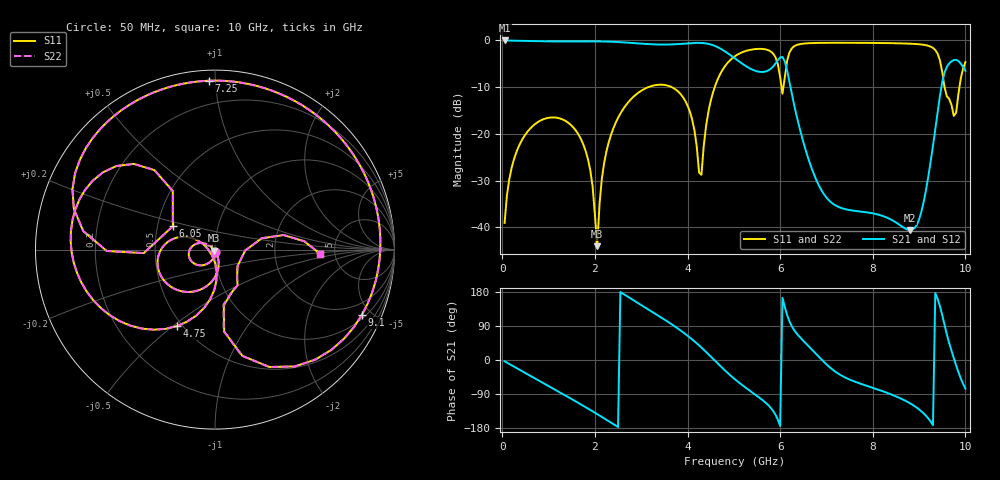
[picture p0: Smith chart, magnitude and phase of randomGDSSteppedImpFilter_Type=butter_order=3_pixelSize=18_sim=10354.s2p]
! freq	dB(S11)	phase(S11)	dB(S12)	phase(S12)
!  dB(S21)	phase(S21)	dB(S22)	phase(S22)
!S-par simulation data
#  GHz  S  DB  R 50
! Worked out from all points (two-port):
!   200 points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, 50 MHz to 10 GHz, reference 50 ohm
!   highest |S21| = -0.03 dB at 50 MHz (marker M1); lowest = -40.6 dB at 8.8 GHz (marker M2)
!   |S21| within 3 dB of the highest: start of sweep to 4.906 GHz
!   lowest |S11| = -44.0 dB at 2.05 GHz (marker M3), VSWR 1.01, Z = 49.6 - j0.513 ohm
!   |S11| at or under -10 dB: start of sweep to 3.157 GHz; 3.655 GHz to 4.588 GHz (933 MHz wide, 22.6 % of centre); 9.549 GHz to 9.872 GHz (322.7 MHz wide, 3.32 % of centre) (the widest 3 of 4)
!   |S22| runs from -44.1 to -0.5 dB; largest |S21 - S12| = 0
!   S11 on the Smith chart (normalised r, x): 50 MHz: 1.00, -0.02; 4.75 GHz: 0.47, -0.52; 6.05 GHz: 0.60, +0.17; 7.25 GHz: 0.06, +0.96; 9.1 GHz: 1.20, -4.40; 10 GHz: 3.81, -0.27
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0.05  -39.06 -81.9  -0.03 -3.5  -0.03 -3.5  -39.06 -81.9
0.65  -18.39 -133.2  -0.16 -44.8  -0.16 -44.8  -18.39 -133.2
1.75  -22.28 152.0  -0.22 -121.0  -0.22 -121.0  -22.28 152.0
2.05  -44.03 -124.7  -0.22 -142.9  -0.22 -142.9  -44.08 -124.6
2.4  -18.77 -82.0  -0.32 -169.2  -0.32 -169.2  -18.77 -82.0
3.4  -9.49 -155.0  -0.90 114.7  -0.90 114.7  -9.49 -155.0
4  -13.95 159.3  -0.65 64.1  -0.65 64.1  -13.95 159.3
4.3  -28.76 -116.8  -0.56 32.8  -0.56 32.8  -28.70 -117.0
4.75  -6.42 -116.7  -2.00 -20.9  -2.00 -20.9  -6.41 -116.7
5.05  -3.22 -147.9  -4.07 -53.6  -4.07 -53.6  -3.22 -147.9
5.85  -2.85 139.7  -5.58 -134.7  -5.58 -134.7  -2.85 139.7
6.05  -11.42 151.1  -3.56 164.1  -3.56 164.1  -11.42 151.1
6.25  -1.74 163.9  -11.34 89.4  -11.34 89.4  -1.74 163.9
6.7  -0.58 123.8  -27.89 25.8  -27.89 25.8  -0.58 123.7
7.25  -0.52 92.0  -35.59 -35.7  -35.59 -35.7  -0.52 91.9
8.35  -0.60 29.8  -38.12 -88.5  -38.12 -88.5  -0.60 29.7
8.8  -0.71 0.4  -40.62 -113.9  -40.62 -113.9  -0.71 0.4
9.1  -0.96 -23.9  -34.50 -141.2  -34.50 -141.2  -0.96 -24.0
9.4  -2.85 -65.1  -15.39 161.3  -15.39 161.3  -2.86 -65.4
9.6  -12.00 -66.8  -5.65 67.3  -5.65 67.3  -12.10 -66.6
9.75  -16.16 -36.4  -4.21 4.6  -4.21 4.6  -16.16 -36.1
10  -4.65 -2.3  -6.51 -75.2  -6.51 -75.2  -4.65 -2.2
